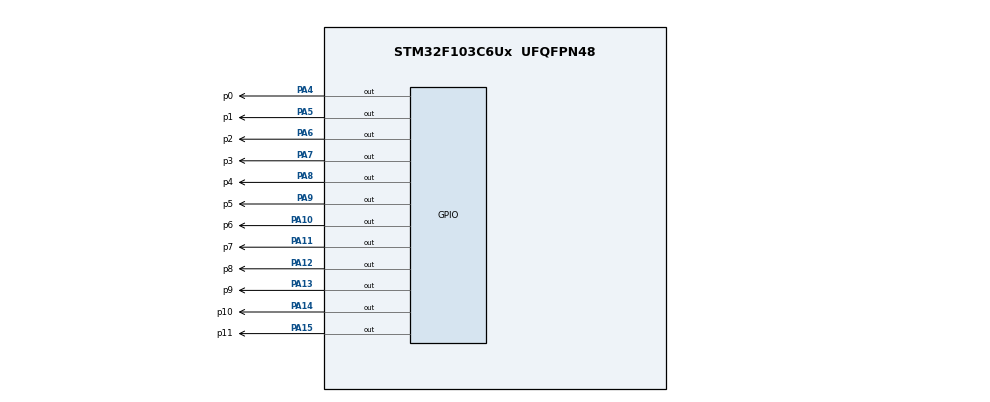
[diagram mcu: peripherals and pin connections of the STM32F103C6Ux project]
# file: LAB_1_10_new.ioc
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Mcu.Family=STM32F1
Mcu.Name=STM32F103C6Ux
Mcu.Package=UFQFPN48
NVIC.PriorityGroup=NVIC_PRIORITYGROUP_4
PA10.GPIO_Label=p6
PA10.Signal=GPIO_Output
PA11.GPIO_Label=p7
PA11.Signal=GPIO_Output
PA12.GPIO_Label=p8
PA12.Signal=GPIO_Output
PA13.GPIO_Label=p9
PA13.Signal=GPIO_Output
PA14.GPIO_Label=p10
PA14.Signal=GPIO_Output
PA15.GPIO_Label=p11
PA15.Signal=GPIO_Output
PA4.GPIO_Label=p0
PA4.Signal=GPIO_Output
PA5.GPIO_Label=p1
PA5.Signal=GPIO_Output
PA6.GPIO_Label=p2
PA6.Signal=GPIO_Output
PA7.GPIO_Label=p3
PA7.Signal=GPIO_Output
PA8.GPIO_Label=p4
PA8.Signal=GPIO_Output
PA9.GPIO_Label=p5
PA9.Signal=GPIO_Output
ProjectManager.HeapSize=0x200
ProjectManager.StackSize=0x400
ProjectManager.TargetToolchain=STM32CubeIDE
RCC.APB1Freq_Value=8000000
RCC.APB2Freq_Value=8000000
VP_SYS_VS_ND.Mode=No_Debug
board=custom

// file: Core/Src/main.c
/* USER CODE BEGIN Header */
/**
  ******************************************************************************
  * @file           : main.c
  * @brief          : Main program body
  ******************************************************************************
  * @attention
  *
  * <h2><center>&copy; Copyright (c) 2026 STMicroelectronics.
  * All rights reserved.</center></h2>
  *
  * This software component is licensed by ST under BSD 3-Clause license,
  * the "License"; You may not use this file except in compliance with the
  * License. You may obtain a copy of the License at:
  *                        opensource.org/licenses/BSD-3-Clause
  *
  ******************************************************************************
  */
/* USER CODE END Header */
#include "main.h"

/* USER CODE BEGIN PTD */
typedef enum  {
	EW_RED_NS_GREEN, EW_RED_NS_YELLOW, EW_GREEN_NS_RED, EW_YELLOW_NS_RED
} STATE_FSM;
/* USER CODE END PTD */

void SystemClock_Config(void);
static void MX_GPIO_Init(void);
/* USER CODE BEGIN PFP */
void clearAllClock();
void setNumberOnClock(int num);
void clearNumberOnClock(int num);
void displayClock(int num);
/* USER CODE END PFP */

int main(void)
{

  /* MCU Configuration--------------------------------------------------------*/

  /* Reset of all peripherals, Initializes the Flash interface and the Systick. */
  HAL_Init();

  /* Configure the system clock */
  SystemClock_Config();

  /* Initialize all configured peripherals */
  MX_GPIO_Init();
  /* USER CODE BEGIN 2 */
  int counter_timer = 0; // 0 -> 8639  (12.12.(5.12) -1)
  clearAllClock();
  /* USER CODE END 2 */

  /* Infinite loop */
  /* USER CODE BEGIN WHILE */
  while (1)
  {
	  displayClock(counter_timer++);
	  if (counter_timer == 8639) {
		  counter_timer = 0;
	  }
	  HAL_Delay (200);
    /* USER CODE END WHILE */

  }
}

void SystemClock_Config(void)
{
  RCC_OscInitTypeDef RCC_OscInitStruct = {0};
  RCC_ClkInitTypeDef RCC_ClkInitStruct = {0};

  /** Initializes the RCC Oscillators according to the specified parameters
  * in the RCC_OscInitTypeDef structure.
  */
  RCC_OscInitStruct.OscillatorType = RCC_OSCILLATORTYPE_HSI;
  RCC_OscInitStruct.HSIState = RCC_HSI_ON;
  RCC_OscInitStruct.HSICalibrationValue = RCC_HSICALIBRATION_DEFAULT;
  RCC_OscInitStruct.PLL.PLLState = RCC_PLL_NONE;
  if (HAL_RCC_OscConfig(&RCC_OscInitStruct) != HAL_OK)
  {
    Error_Handler();
  }
  /** Initializes the CPU, AHB and APB buses clocks
  */
  RCC_ClkInitStruct.ClockType = RCC_CLOCKTYPE_HCLK|RCC_CLOCKTYPE_SYSCLK
                              |RCC_CLOCKTYPE_PCLK1|RCC_CLOCKTYPE_PCLK2;
  RCC_ClkInitStruct.SYSCLKSource = RCC_SYSCLKSOURCE_HSI;
  RCC_ClkInitStruct.AHBCLKDivider = RCC_SYSCLK_DIV1;
  RCC_ClkInitStruct.APB1CLKDivider = RCC_HCLK_DIV1;
  RCC_ClkInitStruct.APB2CLKDivider = RCC_HCLK_DIV1;

  if (HAL_RCC_ClockConfig(&RCC_ClkInitStruct, FLASH_LATENCY_0) != HAL_OK)
  {
    Error_Handler();
  }
}

static void MX_GPIO_Init(void)
{
  GPIO_InitTypeDef GPIO_InitStruct = {0};

  /* GPIO Ports Clock Enable */
  __HAL_RCC_GPIOA_CLK_ENABLE();

  /*Configure GPIO pin Output Level */
  HAL_GPIO_WritePin(GPIOA, p0_Pin|p1_Pin|p2_Pin|p3_Pin
                          |p4_Pin|p5_Pin|p6_Pin|p7_Pin
                          |p8_Pin|p9_Pin|p10_Pin|p11_Pin, GPIO_PIN_RESET);

  /*Configure GPIO pins : p0_Pin p1_Pin p2_Pin p3_Pin
                           p4_Pin p5_Pin p6_Pin p7_Pin
                           p8_Pin p9_Pin p10_Pin p11_Pin */
  GPIO_InitStruct.Pin = p0_Pin|p1_Pin|p2_Pin|p3_Pin
                          |p4_Pin|p5_Pin|p6_Pin|p7_Pin
                          |p8_Pin|p9_Pin|p10_Pin|p11_Pin;
  GPIO_InitStruct.Mode = GPIO_MODE_OUTPUT_PP;
  GPIO_InitStruct.Pull = GPIO_NOPULL;
  GPIO_InitStruct.Speed = GPIO_SPEED_FREQ_LOW;
  HAL_GPIO_Init(GPIOA, &GPIO_InitStruct);

}

/* USER CODE BEGIN 4 */

static const uint16_t clock_pins[12] = {
    p0_Pin, p1_Pin, p2_Pin,  p3_Pin,
    p4_Pin, p5_Pin, p6_Pin,  p7_Pin,
    p8_Pin, p9_Pin, p10_Pin, p11_Pin
};

void clearAllClock(void)
{
    HAL_GPIO_WritePin(GPIOA, p0_Pin|p1_Pin|p2_Pin|p3_Pin
                            |p4_Pin|p5_Pin|p6_Pin|p7_Pin
                            |p8_Pin|p9_Pin|p10_Pin|p11_Pin, GPIO_PIN_RESET);
}

void setNumberOnClock(int num)
{
    if (num >= 0 && num <= 11)
    {
        HAL_GPIO_WritePin(GPIOA, clock_pins[num], GPIO_PIN_SET);
    }
}

void clearNumberOnClock(int num)
{
    if (num >= 0 && num <= 11)
    {
        HAL_GPIO_WritePin(GPIOA, clock_pins[num], GPIO_PIN_RESET);
    }
}

void displayClock(int num) {
  int sec   = num % 12;         // đổi mỗi 5 giây
  int min   = (num / 60) % 12;  // đổi mỗi 5 phút (60 tick)
  int hours = num / 720;        // đổi mỗi 1 giờ (720 tick), 0 -> 11

  clearAllClock();
  setNumberOnClock(hours);
  setNumberOnClock(min);
  setNumberOnClock(sec);
}
/* USER CODE END 4 */

void Error_Handler(void)
{
  __disable_irq();
  while (1)
  {
  }
}

/************************ (C) COPYRIGHT STMicroelectronics *****END OF FILE****/
